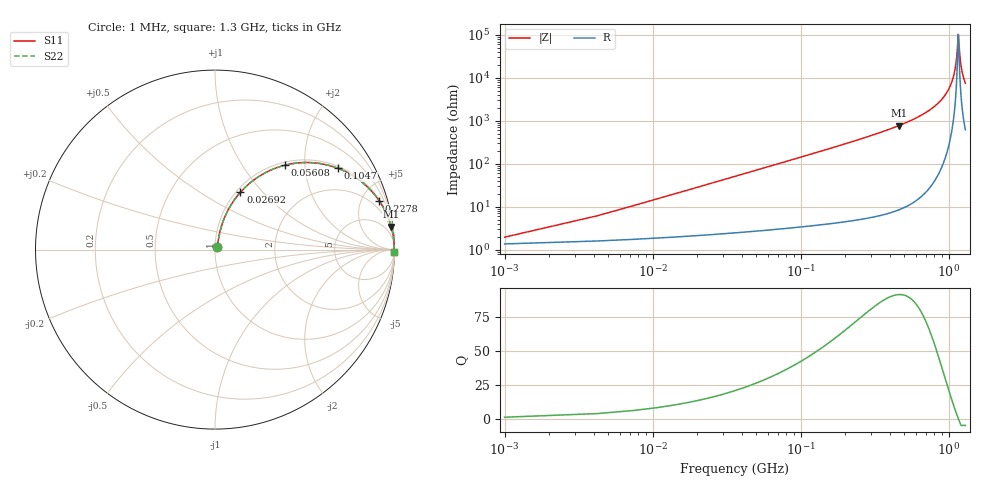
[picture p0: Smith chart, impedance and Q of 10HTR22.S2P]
! Coilcraft 1008HT-R22 Chip Inductor
! 16 July 2002
# MHZ S MA R 50
!Freq  MagS11  AngS11  MagS21  AngS21  MagS12  AngS12  MagS22  AngS22
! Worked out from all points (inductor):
!   402 points, 1 MHz to 1.3 GHz, reference 50 ohm
!   read as one part in series: L = 225 nH near 7.48 MHz
!   highest Q = 91.2 at 461.1 MHz (marker M1), where L = 267 nH
!   self-resonance near 1.164 GHz
!   S11 on the Smith chart (normalised r, x): 1 MHz: 1.03, +0.03; 26.92 MHz: 1.05, +0.76; 56.08 MHz: 1.06, +1.59; 104.7 MHz: 1.07, +2.98; 227.8 MHz: 1.10, +6.70; 1.3 GHz: open
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1  0.01943 45.1  0.9864 -0.8  0.9864 -0.8  0.01943 45.1
10.72  0.1483 74.5  0.9709 -8.5  0.9709 -8.5  0.1483 74.5
13.96  0.191 73.3  0.9628 -11.0  0.9628 -11.0  0.191 73.3
26.92  0.3495 66.1  0.9161 -20.4  0.9161 -20.4  0.3495 66.1
56.08  0.6119 50.3  0.7696 -37.7  0.7696 -37.7  0.6119 50.3
104.68  0.822 33.4  0.5508 -55.3  0.5508 -55.3  0.822 33.4
153.28  0.9046 24.2  0.4102 -64.8  0.4102 -64.8  0.9046 24.2
218.08  0.9504 17.3  0.2974 -71.9  0.2974 -71.9  0.9504 17.3
227.8  0.9545 16.6  0.285 -72.6  0.285 -72.6  0.9545 16.6
435.16  0.9889 7.9  0.1383 -81.4  0.1383 -81.4  0.9889 7.9
461.08  0.9904 7.4  0.1281 -82.0  0.1281 -82.0  0.9904 7.4
652.24  0.9963 4.3  0.07416 -85.0  0.07416 -85.0  0.9963 4.3
869.32  0.9985 2.1  0.03599 -86.6  0.03599 -86.6  0.9985 2.1
1002.16  0.999 1.0  0.01832 -86.2  0.01832 -86.2  0.999 1.0
1086.4  0.999 0.5  0.0085 -83.3  0.0085 -83.3  0.999 0.5
1128.52  0.999 0.2  0.003945 -75.9  0.003945 -75.9  0.999 0.2
1164.16  0.999 0.0  0.0009793 -3.3  0.0009793 -3.3  0.999 0.0
1170.64  0.999 -0.0  0.001161 32.1  0.001161 32.1  0.999 -0.0
1193.32  0.999 -0.2  0.003112 71.0  0.003112 71.0  0.999 -0.2
1216  0.999 -0.3  0.00533 78.6  0.00533 78.6  0.999 -0.3
1251.64  0.9989 -0.5  0.008804 82.6  0.008804 82.6  0.9989 -0.5
1300  0.9988 -0.8  0.0134 84.5  0.0134 84.5  0.9988 -0.8
